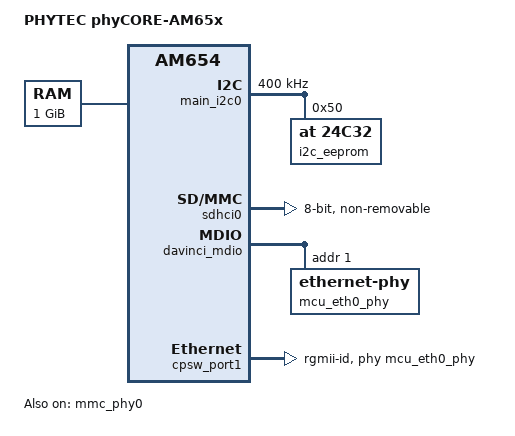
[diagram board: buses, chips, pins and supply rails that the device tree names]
// SPDX-License-Identifier: GPL-2.0
/*
 * Copyright (C) 2018 PHYTEC America, LLC - https://www.phytec.com
 */

#include "k3-am654.dtsi"
#include <dt-bindings/net/ti-dp83867.h>

/ {
	model = "PHYTEC phyCORE-AM65x";
	compatible =  "phytec,am65xx-phycore-som", "ti,am654";

	memory@80000000 {
		device_type = "memory";
		/* 2G RAM */
		reg = <0x00000000 0x40000000
		       0x00000000 0x40000000>;
	};

	reserved-memory {
		#address-cells = <2>;
		#size-cells = <2>;
		ranges;
		secure_ddr: secure_ddr@9e800000 {
			reg = <0 0x9e800000 0 0x01800000>;	/* for OP-TEE */
			alignment = <0x1000>;
			no-map;
		};
	};
};

&main_pmx0 {
	main_mmc0_pins_default: main_mmc0_pins_default {
		pinctrl-single,pins = <
			AM65X_IOPAD(0x0188, PIN_INPUT | MUX_MODE0)		/* (D25) MMC0_DAT7 */
			AM65X_IOPAD(0x018c, PIN_INPUT | MUX_MODE0)		/* (B26) MMC0_DAT6 */
			AM65X_IOPAD(0x0190, PIN_INPUT | MUX_MODE0)		/* (A24) MMC0_DAT5 */
			AM65X_IOPAD(0x0194, PIN_INPUT | MUX_MODE0)		/* (E24) MMC0_DAT4 */
			AM65X_IOPAD(0x0198, PIN_INPUT | MUX_MODE0)		/* (A25) MMC0_DAT3 */
			AM65X_IOPAD(0x019c, PIN_INPUT | MUX_MODE0)		/* (C26) MMC0_DAT2 */
			AM65X_IOPAD(0x01a0, PIN_INPUT | MUX_MODE0)		/* (E25) MMC0_DAT1 */
			AM65X_IOPAD(0x01a4, PIN_INPUT | MUX_MODE0)		/* (A26) MMC0_DAT0 */
			AM65X_IOPAD(0x01a8, PIN_INPUT_PULLDOWN | MUX_MODE0)	/* (B25) MMC0_CLK */
			AM65X_IOPAD(0x01ac, PIN_INPUT | MUX_MODE0)		/* (B27) MMC0_CMD */
			AM65X_IOPAD(0x01b0, PIN_INPUT | MUX_MODE0)		/* (C25) MMC0_DS */
		>;
	};
};

&main_pmx1 {
	main_i2c0_pins_default: main_i2c0_pins_default {
		pinctrl-single,pins = <
			AM65X_IOPAD(0x0000, PIN_INPUT | MUX_MODE0)      /* (D20) I2C0_SCL */
			AM65X_IOPAD(0x0004, PIN_INPUT | MUX_MODE0)      /* (C21) I2C0_SDA */
		>;
	};
};

&wkup_pmx0 {
	mcu_cpsw_pins_default: mcu_cpsw_pins_default {
		pinctrl-single,pins = <
			AM65X_WKUP_IOPAD(0x0058, PIN_OUTPUT | MUX_MODE0)	/* (N4) MCU_RGMII1_TX_CTL */
			AM65X_WKUP_IOPAD(0x005c, PIN_INPUT | MUX_MODE0)		/* (N5) MCU_RGMII1_RX_CTL */
			AM65X_WKUP_IOPAD(0x0060, PIN_OUTPUT | MUX_MODE0)	/* (M2) MCU_RGMII1_TD3 */
			AM65X_WKUP_IOPAD(0x0064, PIN_OUTPUT | MUX_MODE0)	/* (M3) MCU_RGMII1_TD2 */
			AM65X_WKUP_IOPAD(0x0068, PIN_OUTPUT | MUX_MODE0)	/* (M4) MCU_RGMII1_TD1 */
			AM65X_WKUP_IOPAD(0x006c, PIN_OUTPUT | MUX_MODE0)	/* (M5) MCU_RGMII1_TD0 */
			AM65X_WKUP_IOPAD(0x0070, PIN_INPUT | MUX_MODE0)		/* (N1) MCU_RGMII1_TXC */
			AM65X_WKUP_IOPAD(0x0074, PIN_INPUT | MUX_MODE0)		/* (M1) MCU_RGMII1_RXC */
			AM65X_WKUP_IOPAD(0x0078, PIN_INPUT | MUX_MODE0)		/* (L2) MCU_RGMII1_RD3 */
			AM65X_WKUP_IOPAD(0x007c, PIN_INPUT | MUX_MODE0)		/* (L5) MCU_RGMII1_RD2 */
			AM65X_WKUP_IOPAD(0x0080, PIN_INPUT | MUX_MODE0)		/* (M6) MCU_RGMII1_RD1 */
			AM65X_WKUP_IOPAD(0x0084, PIN_INPUT | MUX_MODE0)		/* (L6) MCU_RGMII1_RD0 */
		>;
	};

	mcu_mdio_pins_default: mcu_mdio_pins_default {
		pinctrl-single,pins = <
			AM65X_WKUP_IOPAD(0x0088, PIN_INPUT | MUX_MODE0)		/* (L4) MCU_MDIO0_MDIO */
			AM65X_WKUP_IOPAD(0x008c, PIN_OUTPUT | MUX_MODE0)	/* (L1) MCU_MDIO0_MDC */
		>;
	};
};

&main_i2c0 {
	status = "okay";
	pinctrl-names = "default";
	pinctrl-0 = <&main_i2c0_pins_default>;
	clock-frequency = <400000>;

	i2c_eeprom: eeprom@50 {
		status = "okay";
		compatible = "at,24c32";
		reg = <0x50>;
		pagesize = <32>;
	};
};

&mmc_phy0 {
	status = "okay";
	ti,drv-strength-ohm = <50>;
};

&sdhci0 {
	status = "okay";
	non-removable;
	xlnx,fails-without-test-cd;
	bus-width = <8>;
	pinctrl-names = "default";
	pinctrl-0 = <&main_mmc0_pins_default>;
};

&mcu_cpsw {
	pinctrl-names = "default";
	pinctrl-0 = <&mcu_cpsw_pins_default &mcu_mdio_pins_default>;
};

&davinci_mdio {
	mcu_eth0_phy: ethernet-phy@1 {
		reg = <1>;
		/* TODO: phy reset: TCA9555RTWR(i2c:0x21)[p04].GPIO_MCU_RGMII_RSTN */
		ti,rx-internal-delay = <DP83867_RGMIIDCTL_2_00_NS>;
		ti,tx-internal-delay = <DP83867_RGMIIDCTL_2_00_NS>;
		ti,fifo-depth = <DP83867_PHYCR_FIFO_DEPTH_4_B_NIB>;
	};
};

&cpsw_port1 {
	phy-mode = "rgmii-id";
	phy-handle = <&mcu_eth0_phy>;
};
